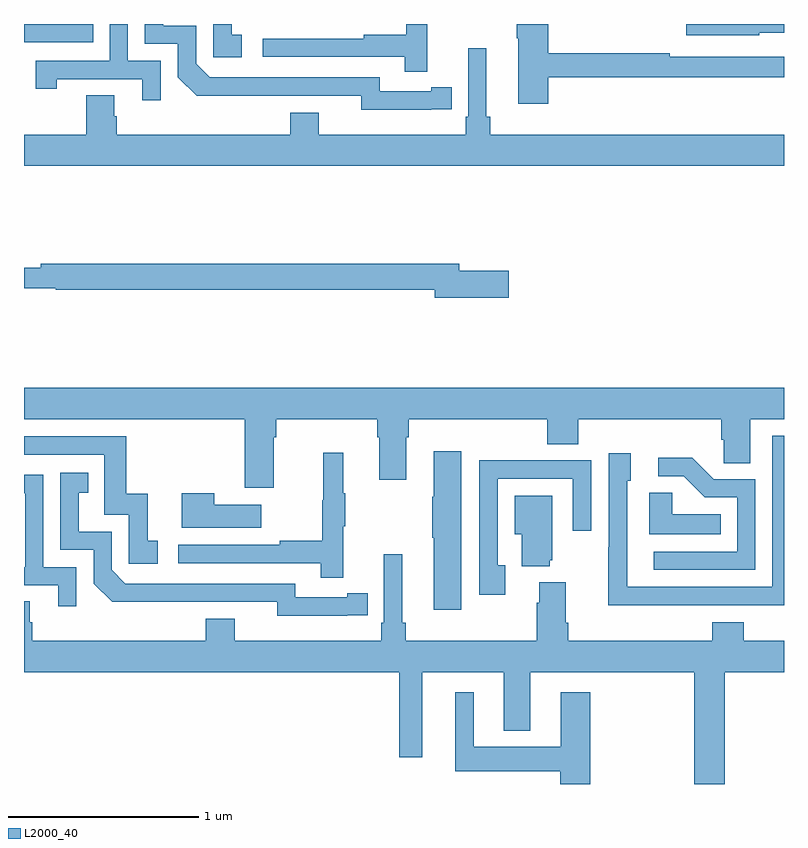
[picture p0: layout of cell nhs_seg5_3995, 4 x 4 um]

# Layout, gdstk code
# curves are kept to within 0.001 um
import gdstk
lib = gdstk.Library(unit=1e-6, precision=1e-09)
def R(c, l, rs):  # rectangles x0, y0, x1, y1
    for r in rs: c.add(gdstk.rectangle(r[:2], r[2:], *l))
def P(c, l, *ps):  # polygons
    for p in ps: c.add(gdstk.Polygon(p, *l))
L2000_40 = (2000, 40)

nhs_seg5_3995 = lib.new_cell('nhs_seg5_3995')
R(nhs_seg5_3995, L2000_40, [(345,898.704,345.365,898.799)])
P(nhs_seg5_3995, L2000_40, [(345.72,898.605),(345.546,898.605),(345.546,898.799),(345.45,898.799),(345.45,898.605),(345.061,898.605),(345.061,898.458),(345.172,898.458),(345.172,898.509),(345.623,898.509),(345.623,898.398),(345.72,898.398)],
  [(347.759,898.518),(349,898.518),(349,898.626),(348.398,898.626),(348.398,898.646),(347.759,898.646),(347.759,898.799),(347.593,898.799),(347.593,898.723),(347.6,898.723),(347.6,898.38),(347.759,898.38)],
  [(347.144,898.35),(347.252,898.35),(347.252,898.466),(347.144,898.466),(347.144,898.446),(346.872,898.446),(346.872,898.518),(345.978,898.518),(345.906,898.59),(345.906,898.791),(345.733,898.791),(345.733,898.799),(345.636,898.799),(345.636,898.695),(345.81,898.695),(345.81,898.518),(345.908,898.421),(346.776,898.422),(346.776,898.349)],
  [(348.87,898.752),(349,898.752),(349,898.799),(348.486,898.799),(348.486,898.739),(348.87,898.739)],
  [(347.123,898.799),(347.013,898.799),(347.013,898.742),(346.789,898.742),(346.789,898.722),(346.257,898.722),(346.257,898.626),(347.005,898.626),(347.005,898.548),(347.123,898.548)],
  [(346.147,898.743),(346.094,898.743),(346.094,898.799),(345.996,898.799),(345.996,898.623),(346.147,898.623)],
  [(349,898.216),(347.453,898.216),(347.453,898.312),(347.434,898.312),(347.434,898.672),(347.337,898.672),(347.337,898.312),(347.324,898.312),(347.324,898.216),(346.552,898.216),(346.552,898.333),(346.4,898.333),(346.4,898.216),(345.488,898.216),(345.488,898.314),(345.475,898.314),(345.475,898.424),(345.328,898.424),(345.328,898.216),(345,898.216),(345,898.052),(349,898.052)],
  [(347.551,897.5),(347.29,897.5),(347.29,897.536),(345.088,897.536),(345.088,897.517),(345,897.517),(345,897.408),(345.166,897.408),(345.166,897.4),(347.162,897.4),(347.162,897.358),(347.551,897.358)],
  [(346.315,896.624),(346.328,896.624),(346.328,896.72),(346.859,896.72),(346.859,896.624),(346.871,896.624),(346.871,896.4),(347.011,896.4),(347.011,896.624),(347.024,896.624),(347.024,896.72),(347.753,896.72),(347.753,896.587),(347.918,896.587),(347.918,896.72),(348.671,896.72),(348.671,896.611),(348.684,896.611),(348.684,896.488),(348.823,896.488),(348.823,896.72),(349,896.72),(349,896.884),(345,896.884),(345,896.72),(346.163,896.72),(346.163,896.358),(346.315,896.358)],
  [(348.539,895.74),(349,895.74),(349,896.631),(348.939,896.631),(348.939,895.836),(348.174,895.836),(348.174,896.394),(348.193,896.394),(348.193,896.539),(348.078,896.539),(348.078,896.045),(348.076,896.045),(348.076,895.739),(348.539,895.739)],
  [(345.703,896.079),(345.65,896.079),(345.65,896.326),(345.539,896.326),(345.539,896.628),(345,896.628),(345,896.532),(345.423,896.532),(345.423,896.217),(345.552,896.217),(345.552,895.959),(345.703,895.959)],
  [(347.302,896.551),(347.156,896.551),(347.156,896.312),(347.149,896.312),(347.149,896.095),(347.156,896.095),(347.156,895.716),(347.302,895.716)],
  [(346.679,896.155),(346.69,896.155),(346.69,896.329),(346.679,896.329),(346.679,896.542),(346.576,896.542),(346.576,896.292),(346.569,896.292),(346.569,896.078),(346.345,896.078),(346.345,896.058),(345.813,896.058),(345.813,895.962),(346.561,895.962),(346.561,895.884),(346.679,895.884)],
  [(348.849,896.403),(348.63,896.403),(348.517,896.516),(348.339,896.516),(348.339,896.418),(348.473,896.418),(348.584,896.307),(348.753,896.307),(348.753,896.022),(348.315,896.022),(348.315,895.926),(348.849,895.926)],
  [(347.533,895.95),(347.493,895.95),(347.493,896.406),(347.889,896.406),(347.889,896.133),(347.985,896.133),(347.985,896.502),(347.669,896.502),(347.669,896.504),(347.397,896.504),(347.397,895.794),(347.533,895.794)],
  [(346.7,895.686),(346.808,895.686),(346.808,895.802),(346.7,895.802),(346.7,895.782),(346.428,895.782),(346.428,895.854),(345.534,895.854),(345.462,895.926),(345.462,896.127),(345.289,896.127),(345.289,896.331),(345.338,896.331),(345.338,896.437),(345.192,896.437),(345.192,896.031),(345.366,896.031),(345.366,895.854),(345.464,895.757),(346.332,895.758),(346.332,895.685)],
  [(345.276,895.941),(345.102,895.941),(345.102,896.427),(345,896.427),(345,896.33),(345.006,896.33),(345.006,895.941),(345,895.941),(345,895.845),(345.179,895.845),(345.179,895.734),(345.276,895.734)],
  [(348.668,896.218),(348.411,896.218),(348.411,896.333),(348.29,896.333),(348.29,896.114),(348.668,896.114)],
  [(346.249,896.269),(346.001,896.269),(346.001,896.329),(345.83,896.329),(345.83,896.147),(346.249,896.147)],
  [(347.768,895.977),(347.779,895.977),(347.779,896.317),(347.582,896.317),(347.582,896.114),(347.621,896.114),(347.621,895.946),(347.768,895.946)],
  [(348.623,895.651),(348.623,895.552),(347.864,895.552),(347.864,895.648),(347.851,895.648),(347.851,895.861),(347.711,895.861),(347.711,895.754),(347.699,895.754),(347.699,895.552),(347.009,895.552),(347.009,895.648),(346.99,895.648),(346.99,896.008),(346.893,896.008),(346.893,895.648),(346.88,895.648),(346.88,895.552),(346.108,895.552),(346.108,895.669),(345.956,895.669),(345.956,895.552),(345.044,895.552),(345.044,895.65),(345.031,895.65),(345.031,895.76),(345,895.76),(345,895.388),(346.974,895.388),(346.974,894.939),(347.095,894.939),(347.095,895.388),(347.525,895.388),(347.525,895.079),(347.665,895.079),(347.665,895.388),(348.527,895.388),(348.527,894.799),(348.687,894.799),(348.687,895.388),(349,895.388),(349,895.552),(348.788,895.552),(348.788,895.651)],
  [(347.981,895.282),(347.825,895.282),(347.825,894.994),(347.368,894.994),(347.368,895.282),(347.27,895.282),(347.27,894.866),(347.822,894.866),(347.822,894.799),(347.981,894.799)])

lib.write_gds('nhs_seg5_3995.gds')
